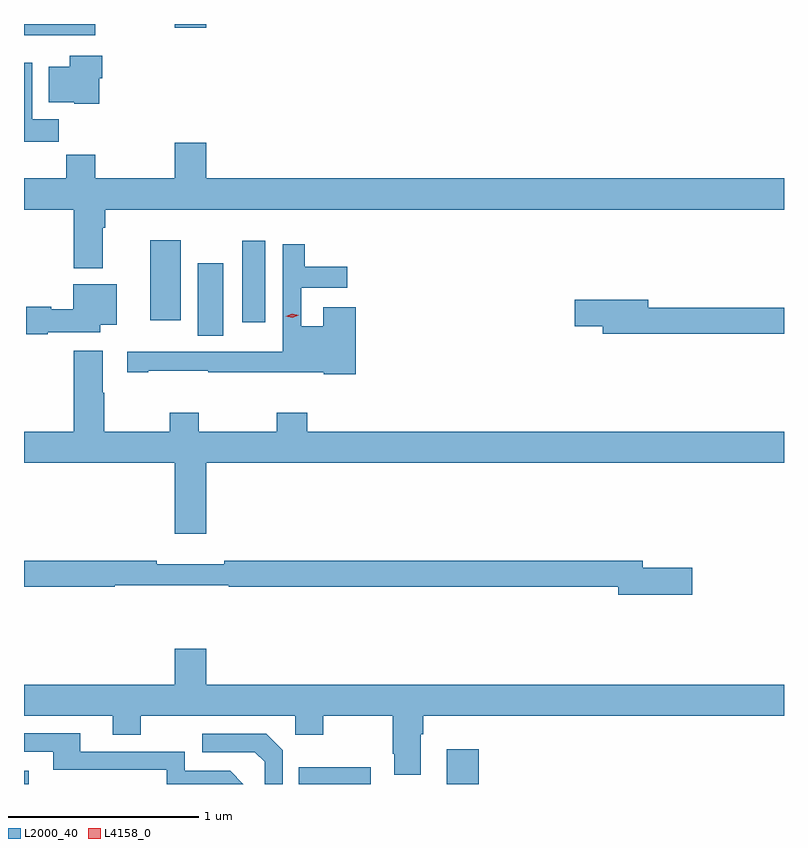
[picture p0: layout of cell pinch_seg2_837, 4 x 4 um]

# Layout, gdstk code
import gdstk
lib = gdstk.Library(unit=1e-6, precision=1e-09)
def R(c, l, rs):  # rectangles x0, y0, x1, y1
    for r in rs: c.add(gdstk.rectangle(r[:2], r[2:], *l))
def P(c, l, *ps):  # polygons
    for p in ps: c.add(gdstk.Polygon(p, *l))
L2000_40 = (2000, 40)
L4158_0 = (4158, 0)

pinch_seg2_837 = lib.new_cell('pinch_seg2_837')
R(pinch_seg2_837, L2000_40, [(799.578,608.649,799.603,608.719), (801.025,608.649,801.403,608.737), (801.803,608.649,801.971,608.833), (800.492,611.008,800.626,611.389), (800.726,611.079,800.848,611.509), (800.243,611.091,800.404,611.512), (799.578,612.59,799.953,612.649), (800.372,612.63,800.536,612.649)])
P(pinch_seg2_837, L2000_40, [(799.973,612.363),(799.991,612.363),(799.991,612.481),(799.82,612.481),(799.82,612.424),(799.709,612.424),(799.709,612.236),(799.842,612.236),(799.842,612.23),(799.973,612.23)],
  [(799.76,612.148),(799.621,612.148),(799.621,612.445),(799.578,612.445),(799.578,612.03),(799.76,612.03)],
  [(799.993,611.576),(800.006,611.576),(800.006,611.672),(803.578,611.672),(803.578,611.836),(800.536,611.836),(800.536,612.025),(800.372,612.025),(800.372,611.836),(799.953,611.836),(799.953,611.96),(799.801,611.96),(799.801,611.836),(799.578,611.836),(799.578,611.672),(799.841,611.672),(799.841,611.363),(799.993,611.363)],
  [(801.323,611.158),(801.152,611.158),(801.152,611.059),(801.036,611.059),(801.036,611.262),(801.28,611.262),(801.28,611.371),(801.056,611.371),(801.056,611.491),(800.94,611.491),(800.94,610.924),(800.73,610.924),(800.73,610.923),(800.396,610.923),(800.396,610.924),(800.121,610.924),(800.121,610.815),(800.233,610.815),(800.233,610.825),(800.549,610.825),(800.549,610.815),(800.964,610.815),(800.964,610.817),(801.156,610.817),(801.156,610.805),(801.323,610.805)],
  [(799.702,611.027),(799.978,611.027),(799.978,611.066),(800.065,611.066),(800.065,611.278),(799.838,611.278),(799.838,611.149),(799.722,611.149),(799.722,611.162),(799.59,611.162),(799.59,611.015),(799.702,611.015)],
  [(803.578,611.156),(802.864,611.156),(802.864,611.199),(802.476,611.199),(802.476,611.057),(802.625,611.057),(802.625,611.02),(803.578,611.02)],
  [(800.344,610.504),(800.001,610.504),(800.001,610.709),(799.993,610.709),(799.993,610.93),(799.841,610.93),(799.841,610.504),(799.578,610.504),(799.578,610.34),(800.372,610.34),(800.372,609.966),(800.536,609.966),(800.536,610.34),(803.578,610.34),(803.578,610.504),(801.068,610.504),(801.068,610.603),(800.908,610.603),(800.908,610.504),(800.499,610.504),(800.499,610.603),(800.344,610.603)],
  [(803.095,609.788),(802.834,609.788),(802.834,609.824),(800.632,609.824),(800.632,609.805),(800.276,609.805),(800.276,609.824),(799.578,609.824),(799.578,609.688),(800.055,609.688),(800.055,609.696),(800.655,609.696),(800.655,609.688),(802.706,609.688),(802.706,609.646),(803.095,609.646)],
  [(801.667,608.912),(801.68,608.912),(801.68,609.008),(803.578,609.008),(803.578,609.172),(800.536,609.172),(800.536,609.361),(800.372,609.361),(800.372,609.172),(799.578,609.172),(799.578,609.008),(800.045,609.008),(800.045,608.909),(800.193,608.909),(800.193,609.008),(801.006,609.008),(801.006,608.909),(801.153,608.909),(801.153,609.008),(801.52,609.008),(801.52,608.809),(801.527,608.809),(801.527,608.697),(801.667,608.697)],
  [(800.664,608.718),(800.424,608.718),(800.424,608.82),(799.873,608.82),(799.873,608.916),(799.578,608.916),(799.578,608.82),(799.733,608.82),(799.733,608.724),(800.328,608.724),(800.328,608.649),(800.733,608.649)],
  [(800.94,608.826),(800.853,608.913),(800.517,608.913),(800.517,608.817),(800.793,608.817),(800.844,608.766),(800.844,608.649),(800.94,608.649)])
P(pinch_seg2_837, L4158_0, [(800.991,611.104),(800.956,611.111),(800.956,611.112),(800.956,611.112),(800.99,611.124),(801.025,611.117),(801.025,611.117),(801.025,611.116)])

lib.write_gds('pinch_seg2_837.gds')
